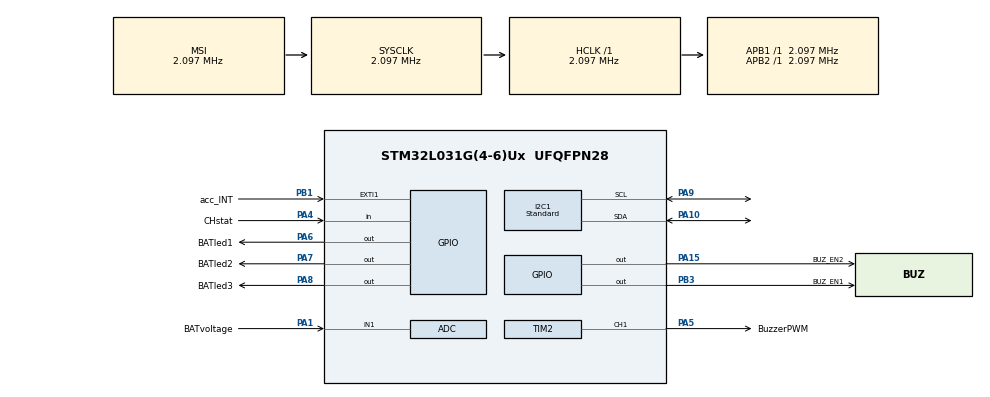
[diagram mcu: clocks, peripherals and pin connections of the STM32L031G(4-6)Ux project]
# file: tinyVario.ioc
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ADC.OversamplingMode=ENABLE
ADC.Ratio=ADC_OVERSAMPLING_RATIO_16
ADC.RightBitShift=ADC_RIGHTBITSHIFT_4
Dma.I2C1_RX.0.Direction=DMA_PERIPH_TO_MEMORY
Dma.I2C1_RX.0.Instance=DMA1_Channel3
Dma.I2C1_RX.0.MemDataAlignment=DMA_MDATAALIGN_BYTE
Dma.I2C1_RX.0.MemInc=DMA_MINC_ENABLE
Dma.I2C1_RX.0.Mode=DMA_NORMAL
Dma.I2C1_RX.0.PeriphDataAlignment=DMA_PDATAALIGN_BYTE
Dma.I2C1_RX.0.PeriphInc=DMA_PINC_DISABLE
Dma.I2C1_RX.0.Priority=DMA_PRIORITY_HIGH
Dma.Request0=I2C1_RX
I2C1.I2C_Speed_Mode=I2C_Standard
I2C1.Timing=0x00000608
Mcu.Family=STM32L0
Mcu.Name=STM32L031G(4-6)Ux
Mcu.Package=UFQFPN28
NVIC.DMA1_Channel2_3_IRQn=true\:0\:0\:false\:false\:true\:false\:true\:true
NVIC.EXTI0_1_IRQn=true\:0\:0\:false\:false\:true\:true\:true\:true
NVIC.I2C1_IRQn=true\:0\:0\:false\:false\:true\:true\:true\:true
PA0-CK_IN.GPIO_Label=ButtonIn
PA0-CK_IN.Mode=SYS_WakeUp0
PA0-CK_IN.Signal=SYS_WKUP1
PA1.GPIO_Label=BATvoltage
PA1.Mode=IN1
PA1.Signal=ADC_IN1
PA10.Mode=I2C
PA10.Signal=I2C1_SDA
PA13.Mode=Serial_Wire
PA13.Signal=SYS_SWDIO
PA14.Mode=Serial_Wire
PA14.Signal=SYS_SWCLK
PA15.GPIO_Label=BUZ_EN2
PA15.Signal=GPIO_Output
PA2.GPIO_Label=USBsens
PA2.Mode=SYS_WakeUp2
PA2.Signal=SYS_WKUP3
PA4.GPIO_Label=CHstat
PA4.Signal=GPIO_Input
PA5.GPIO_Label=BuzzerPWM
PA5.Signal=S_TIM2_CH1
PA6.GPIO_Label=BATled1
PA6.Signal=GPIO_Output
PA7.GPIO_Label=BATled2
PA7.Signal=GPIO_Output
PA8.GPIO_Label=BATled3
PA8.Signal=GPIO_Output
PA9.Mode=I2C
PA9.Signal=I2C1_SCL
PB1.GPIO_Label=acc_INT
PB1.GPIO_PuPd=GPIO_PULLUP
PB1.Signal=GPXTI1
PB3.GPIO_Label=BUZ_EN1
PB3.Signal=GPIO_Output
ProjectManager.HeapSize=0x200
ProjectManager.StackSize=0x400
ProjectManager.TargetToolchain=STM32CubeIDE
RCC.AHBFreq_Value=2097000
RCC.APB1Freq_Value=2097000
RCC.APB1TimFreq_Value=2097000
RCC.APB2Freq_Value=2097000
RCC.APB2TimFreq_Value=2097000
RCC.HSE_VALUE=8000000
RCC.HSI16_VALUE=16000000
RCC.HSI_VALUE=16000000
RCC.LSE_VALUE=32768
RCC.MSI_VALUE=2097000
RCC.SYSCLKFreq_VALUE=2097000
RCC.VCOOutputFreq_Value=48000000
SH.S_TIM2_CH1.0=TIM2_CH1,PWM Generation1 CH1
TIM2.Channel-PWM\ Generation1\ CH1=TIM_CHANNEL_1
TIM2.Period=249
TIM2.Prescaler=1-1
TIM21.Prescaler=4-1
VP_ADC_Vref_Input.Mode=IN-Vrefint
VP_TIM21_VS_ClockSourceINT.Mode=Internal
VP_TIM2_VS_ClockSourceINT.Mode=Internal
board=custom

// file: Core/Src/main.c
/* USER CODE BEGIN Header */
/**
  ******************************************************************************
  * @file           : main.c
  * @brief          : Main program body
  * @author         : Luca Obwegs
  ******************************************************************************
  * @attention
  *
  * Copyright (c) 2026 Luca Obwegs.
  * All rights reserved.
  *
  * This software is licensed under terms that can be found in the LICENSE file
  * in the root directory of this software component.
  * If no LICENSE file comes with this software, it is provided AS-IS.
  *
  ******************************************************************************
  */
/* USER CODE END Header */
#include "main.h"

/* USER CODE BEGIN Includes */
#include "led.h"
#include "battery.h"
#include "button.h"
#include "buzzer.h"
#include "vario.h"
/* USER CODE END Includes */

ADC_HandleTypeDef hadc;

I2C_HandleTypeDef hi2c1;
DMA_HandleTypeDef hdma_i2c1_rx;

TIM_HandleTypeDef htim2;
TIM_HandleTypeDef htim21;

/* USER CODE BEGIN PV */
volatile SystemError_t g_system_error = ERR_UNKNOWN;
static uint8_t initial_turn_on_released = 0;
SystemState_t current_state = STATE_OFF;
static uint32_t vbat = 0;
volatile uint8_t battery_soc_pct = 0;
static uint8_t stall_count = 0;  /* consecutive IMU stall events; reboot at threshold */
static uint32_t last_batt_check_tick = 0;
/* USER CODE END PV */

void SystemClock_Config(void);
static void MX_GPIO_Init(void);
static void MX_DMA_Init(void);
static void MX_ADC_Init(void);
static void MX_I2C1_Init(void);
static void MX_TIM2_Init(void);
static void MX_TIM21_Init(void);

int main(void)
{

  /* MCU Configuration--------------------------------------------------------*/

  /* Reset of all peripherals, Initializes the Flash interface and the Systick. */
  HAL_Init();

  /* Configure the system clock */
  SystemClock_Config();

  /* USER CODE BEGIN SysInit */
  // Keep SWD clocks running during Standby and Stop modes for debugging ---> REMOVE IN PRODUCTION CODE
  HAL_DBGMCU_EnableDBGStandbyMode();
  HAL_DBGMCU_EnableDBGStopMode();
  /* IWDG runs in standby; if it fired while sleeping re-enter standby silently (no LED animation) */
  if (RCC->CSR & RCC_CSR_IWDGRSTF) {
      RCC->CSR |= RCC_CSR_RMVF;                     /* clear all reset flags */
      __HAL_PWR_CLEAR_FLAG(PWR_FLAG_WU);
      HAL_PWR_EnableWakeUpPin(PWR_WAKEUP_PIN1);
      HAL_PWR_EnableWakeUpPin(PWR_WAKEUP_PIN3);
      IWDG->KR = 0xAAAA;                             /* pet before re-entering standby */
      HAL_PWR_EnterSTANDBYMode();
      while (1);                                     /* unreachable; satisfies compiler */
  }
  /* IWDG: ~26 s hardware watchdog — automatic reboot if firmware freezes for any reason.
     LSI ~37 kHz / prescaler-256 / reload-4095 ≈ 28 s (worst-case 47 kHz ≈ 22 s). */
  IWDG->KR = 0xCCCC;                  /* start IWDG */
  IWDG->KR = 0x5555;                  /* unlock PR/RLR registers */
  IWDG->PR = 6; IWDG->RLR = 0x0FFF;  /* /256 prescaler, max reload 4095 */
  while (IWDG->SR & 0x3);             /* wait for registers to update */
  IWDG->KR = 0xAAAA;                  /* reload — countdown starts */
  /* USER CODE END SysInit */

  /* Initialize all configured peripherals */
  MX_GPIO_Init();
  MX_DMA_Init();
  MX_ADC_Init();
  MX_I2C1_Init();
  MX_TIM2_Init();
  MX_TIM21_Init();
  Battery_Load_State_From_EEPROM();
  /* USER CODE BEGIN 2 */
  /* 1. Check whether the button was held for the full power-on gesture (2 s) */
  if (Is_Button_Held_2s()) {
    current_state = STATE_ACTIVE;
    initial_turn_on_released = 0; // lock out shutdown until the finger is lifted once

    /* --- Turn-on animation: LEDs light up one after another --- */
    HAL_GPIO_WritePin(GPIOA, BATled1_Pin, GPIO_PIN_SET);
    HAL_Delay(250);
    HAL_GPIO_WritePin(GPIOA, BATled2_Pin, GPIO_PIN_SET);
    HAL_Delay(250);
    HAL_GPIO_WritePin(GPIOA, BATled3_Pin, GPIO_PIN_SET);
    HAL_Delay(400); // brief pause so the user registers that all 3 are lit

    /* --- Battery level readout, shown for ~3 s --- */
    vbat = Read_Battery_MV();
    battery_soc_pct = Battery_Get_Fused_SOC(vbat, 25);

    if (vbat <= BAT_SHUTDOWN_MV) {
      /* Battery is already critical at power-on: skip the normal level display and
         don't start the sensors, buzzer, or IMU interrupt at all. Flash the warning
         LED and fall through to a clean shutdown; sensors_initialized stays 0, so
         STATE_OFF below skips sensor standby. */
      HAL_GPIO_WritePin(GPIOA, BATled1_Pin | BATled2_Pin | BATled3_Pin, GPIO_PIN_RESET);
      Handle_Critical_Battery();
    } else {
      /* Only turn off whichever LEDs don't belong at this SOC level - the ones that do
         belong just stay lit from the turn-on animation, so there's no off/on flicker. */
      Display_Battery_Level_Static(battery_soc_pct);
      HAL_Delay(3000);
      HAL_GPIO_WritePin(GPIOA, BATled1_Pin | BATled2_Pin | BATled3_Pin, GPIO_PIN_RESET);

      /* 2. Initialize sensors */
      if (SPL06_Init(&hi2c1) != HAL_OK) {
        HALT_WITH_ERROR(ERR_BARO_SPL06);
      }
      dbg_spl06_active = 1;

      if (LSM6DS3_Init(&hi2c1) != HAL_OK) {
        HALT_WITH_ERROR(ERR_IMU_LSM6DS3);
      }
      dbg_imu_active = 1;

      /* 3. Clear latched IMU interrupts */
      uint8_t dummy_buf[12];
      for (uint8_t i = 0; i < 3; i++) {
        LSM6DS3_ReadRaw_Poll(&hi2c1, dummy_buf);
        HAL_Delay(10);
      }

      /* 4. Barometer stabilization */
      HAL_Delay(100);
      SPL06_GetTemperature(&hi2c1); // populate calib.last_t_raw_sc first
      reference_pressure_pa = SPL06_GetPressure(&hi2c1);

      /* 5. Start PWM for the buzzer */
      HAL_TIM_PWM_Start(&htim2, TIM_CHANNEL_1);
      __HAL_TIM_SET_COMPARE(&htim2, TIM_CHANNEL_1, 0);
      g_volume = Load_Volume();
      Set_Volume(g_volume);

      /* 5b. Start TIM21 as a free-running timestamp counter for IMU dt measurement */
      HAL_TIM_Base_Start(&htim21);

      /* 6. Arm the EXTI interrupt */
      HAL_NVIC_EnableIRQ(EXTI0_1_IRQn);

      /* Seed the stall watchdog so it doesn't fire immediately on entry */
      last_imu_sample_tick = HAL_GetTick();
    }
  } else if (HAL_GPIO_ReadPin(USB_PORT, USB_PIN) == GPIO_PIN_SET) {
    current_state = STATE_CHARGING; // USB plugged in at boot, button not held
  } else {
    current_state = STATE_OFF;
  }
  /* USER CODE END 2 */

  /* Infinite loop */
  /* USER CODE BEGIN WHILE */
  while (1)
  {
    switch (current_state) {
      case STATE_OFF:
        if (HAL_GPIO_ReadPin(USB_PORT, USB_PIN) == GPIO_PIN_SET) {
          current_state = STATE_CHARGING;
          break; // skip the standby-entry code below this cycle
        }

        /* 1. Shut down audio, interrupts, and LEDs immediately at t = 2.0 s */
        HAL_NVIC_DisableIRQ(EXTI0_1_IRQn);
        HAL_NVIC_DisableIRQ(DMA1_Channel2_3_IRQn);
        HAL_TIM_PWM_Stop(&htim2, TIM_CHANNEL_1);
        Set_Volume(0); // shut down PAM8904

        if (sensors_initialized) {
          if (!Sensors_Safe_Shutdown()) {
            /* Couldn't confirm both sensors are powered down even after retries and a
               bus reset - make this visible instead of silently going to Standby with a
               sensor possibly still drawing current. Distinct pattern from the
               low-battery warning so it's identifiable on the bench. */
            for (uint8_t i = 0; i < 6; i++) {
              HAL_GPIO_TogglePin(GPIOA, BATled1_Pin | BATled3_Pin);
              HAL_Delay(150);
            }
            HAL_GPIO_WritePin(GPIOA, BATled1_Pin | BATled2_Pin | BATled3_Pin, GPIO_PIN_RESET);
          }
          HAL_I2C_DeInit(&hi2c1); // releases I2C clock, DMA channel, and PA9/PA10 AF pins
        }

        /* --- Turn-off animation --- */
        HAL_GPIO_WritePin(GPIOA, BATled1_Pin | BATled2_Pin | BATled3_Pin, GPIO_PIN_SET);
        HAL_Delay(1000);
        HAL_GPIO_WritePin(GPIOA, BATled1_Pin | BATled2_Pin | BATled3_Pin, GPIO_PIN_RESET);

        /* 2. Wait silently for physical release so Standby hardware doesn't instant-reboot */
        while (HAL_GPIO_ReadPin(BUTTON_PORT, BUTTON_PIN) == GPIO_PIN_SET) {
          HAL_Delay(10);
        }

        /* 3. Debounce: wait 100 ms for mechanical switch bouncing to fully settle */
        HAL_Delay(100);

        /* Remove the pull-up on INT1 - ~82 uA flows through it in Standby when the pin is driven low */
        {
          GPIO_InitTypeDef g = {0};
          g.Pin  = acc_INT_Pin;
          g.Mode = GPIO_MODE_INPUT;
          g.Pull = GPIO_NOPULL;
          HAL_GPIO_Init(acc_INT_GPIO_Port, &g);
        }

        /* USB hot-plugged during the shutdown animation - skip Standby */
        if (HAL_GPIO_ReadPin(USB_PORT, USB_PIN) == GPIO_PIN_SET) {
          current_state = STATE_CHARGING;
          break;
        }

        /* 4. Clear the wake-up flag and enter Standby mode */
        __HAL_PWR_CLEAR_FLAG(PWR_FLAG_WU);
        HAL_PWR_EnableWakeUpPin(PWR_WAKEUP_PIN1);
        HAL_PWR_EnableWakeUpPin(PWR_WAKEUP_PIN3);

        IWDG->KR = 0xAAAA; /* pet before standby - full ~26 s before next reset */
        dbg_mcu_state = DBG_MCU_STANDBY;
        HAL_PWR_EnterSTANDBYMode();
        /* If we reach this line, standby entry failed (pending wake-up flag or mis-configuration) */
        dbg_standby_fail++;
        dbg_mcu_state = DBG_MCU_ACTIVE;
        break;

      case STATE_ACTIVE:
        /* --- Shutdown timing (bypass STOP mode while the button is held) --- */
        if (HAL_GPIO_ReadPin(BUTTON_PORT, BUTTON_PIN) == GPIO_PIN_SET) {
          if (initial_turn_on_released) {
            /* Silence the buzzer immediately so it doesn't hang mid-tone for the whole
               2 s hold - stop as soon as the press starts. */
            Set_Buzzer_Frequency(0);
            is_beeping = 0;

            uint32_t press_start = HAL_GetTick();

            /* Trap execution here so the MCU stays awake to count ticks normally */
            uint8_t consec_low = 0;
            while (1) {
              HAL_Delay(10);
              if (HAL_GPIO_ReadPin(BUTTON_PORT, BUTTON_PIN) == GPIO_PIN_SET) {
                consec_low = 0;
                if ((HAL_GetTick() - press_start) >= 2000) {
                  current_state = STATE_OFF;
                  break;
                }
              } else {
                /* Require 50 ms of sustained release to guard against buzzer-induced bounce */
                if (++consec_low >= 5) break;
              }
            }
            if (current_state != STATE_OFF) {
              /* Short press: cycle volume 1 -> 2 -> 3 -> 1 */
              g_volume = (g_volume % 3) + 1;
              Set_Volume(g_volume);
              if (Save_Volume(g_volume) != EEPROM_SETTINGS_OK) {
                HALT_WITH_ERROR(ERR_EEPROM_STORAGE);
              }
              Display_Volume_LED(g_volume);
              last_imu_sample_tick = HAL_GetTick(); // prevent stall watchdog after the 1 s block
            }
          }
        } else {
          /* Button was completely released, arm the system for a future power-off hold */
          initial_turn_on_released = 1;
        }

        /* If the inner loop triggered a state change to OFF, jump out of this switch case instantly */
        if (current_state == STATE_OFF) {
          break;
        }

        /* --- Battery monitoring (every ~2 s - no need to sample at the 26 Hz IMU rate) ---
           Sample only when the system is quiescent enough that the regulator and sensor
           load are not biasing the battery divider measurement. */
        if ((HAL_GetTick() - last_batt_check_tick) >= BATT_CHECK_INTERVAL_MS) {
          last_batt_check_tick = HAL_GetTick();
          vbat = Battery_Read_MV_Quiescent();
          Battery_Update_Estimate(vbat);
          int32_t batt_temp_c = 25;
          if (sensors_initialized) {
            batt_temp_c = SPL06_GetTemperature(&hi2c1) / 1000;
          }
          battery_soc_pct = Battery_Get_Fused_SOC(vbat, batt_temp_c);

          if (vbat <= BAT_SHUTDOWN_MV) {
            Handle_Critical_Battery();
            break; // let STATE_OFF take over on the next loop iteration
          }
        }

        /* --- Main vario logic --- */
        if (imu_data_ready) {
          imu_data_ready = 0;
          last_imu_sample_tick = HAL_GetTick();
          stall_count = 0;
          IWDG->KR = 0xAAAA; /* pet the watchdog on every healthy IMU sample */
          Process_Vario_Math();
        } else if ((HAL_GetTick() - last_imu_sample_tick) > IMU_STALL_TIMEOUT_MS) {
          /* No IMU sample for far longer than the ~19 ms expected at 26 Hz - the I2C/DMA
             pipeline (or the sensor's INT1 line) is wedged. Reset the bus and sensor
             configuration instead of sitting silently until the user power-cycles. */
          if (++stall_count >= 5) NVIC_SystemReset(); // 5 consecutive stalls = ~2.5 s without data
          Recover_IMU_Bus();
        }

        /* Low-power sleep between samples */
        dbg_mcu_state = DBG_MCU_SLEEP;
        HAL_PWR_EnterSLEEPMode(PWR_MAINREGULATOR_ON, PWR_SLEEPENTRY_WFI);
        dbg_mcu_state = DBG_MCU_ACTIVE;
        break;

      case STATE_CHARGING:
        /* --- Charging mode (stay awake) --- */
        IWDG->KR = 0xAAAA; /* pet the watchdog */

        vbat = Battery_Read_MV_Quiescent();
        Battery_Update_Estimate(vbat);
        int32_t batt_temp_c = 25;
        if (sensors_initialized) {
          batt_temp_c = SPL06_GetTemperature(&hi2c1) / 1000;
        }
        battery_soc_pct = Battery_Get_Fused_SOC(vbat, batt_temp_c);
        Display_Charging_Status(battery_soc_pct); // keep LEDs flashing/solid based on SOC

        /* Exit if USB is unplugged */
        if (HAL_GPIO_ReadPin(USB_PORT, USB_PIN) == GPIO_PIN_RESET) {
          current_state = STATE_OFF;
        }

        /* If the user holds the button for 2 s while charging, switch to vario mode */
        if (HAL_GPIO_ReadPin(BUTTON_PORT, BUTTON_PIN) == GPIO_PIN_SET) {
          uint32_t press_start = HAL_GetTick();
          while (HAL_GPIO_ReadPin(BUTTON_PORT, BUTTON_PIN) == GPIO_PIN_SET) {
            if ((HAL_GetTick() - press_start) > 2000) {
              current_state = STATE_ACTIVE;
              break;
            }
            HAL_Delay(10);
          }
        }
        HAL_Delay(50); // fast response for the button check
        break;
    }
  /* USER CODE END WHILE */

  }
}

void SystemClock_Config(void)
{
  RCC_OscInitTypeDef RCC_OscInitStruct = {0};
  RCC_ClkInitTypeDef RCC_ClkInitStruct = {0};
  RCC_PeriphCLKInitTypeDef PeriphClkInit = {0};

  /** Configure the main internal regulator output voltage
  */
  __HAL_PWR_VOLTAGESCALING_CONFIG(PWR_REGULATOR_VOLTAGE_SCALE1);

  /** Initializes the RCC Oscillators according to the specified parameters
  * in the RCC_OscInitTypeDef structure.
  */
  RCC_OscInitStruct.OscillatorType = RCC_OSCILLATORTYPE_MSI;
  RCC_OscInitStruct.MSIState = RCC_MSI_ON;
  RCC_OscInitStruct.MSICalibrationValue = 0;
  RCC_OscInitStruct.MSIClockRange = RCC_MSIRANGE_5;
  RCC_OscInitStruct.PLL.PLLState = RCC_PLL_NONE;
  if (HAL_RCC_OscConfig(&RCC_OscInitStruct) != HAL_OK)
  {
    Error_Handler();
  }

  /** Initializes the CPU, AHB and APB buses clocks
  */
  RCC_ClkInitStruct.ClockType = RCC_CLOCKTYPE_HCLK|RCC_CLOCKTYPE_SYSCLK
                              |RCC_CLOCKTYPE_PCLK1|RCC_CLOCKTYPE_PCLK2;
  RCC_ClkInitStruct.SYSCLKSource = RCC_SYSCLKSOURCE_MSI;
  RCC_ClkInitStruct.AHBCLKDivider = RCC_SYSCLK_DIV1;
  RCC_ClkInitStruct.APB1CLKDivider = RCC_HCLK_DIV1;
  RCC_ClkInitStruct.APB2CLKDivider = RCC_HCLK_DIV1;

  if (HAL_RCC_ClockConfig(&RCC_ClkInitStruct, FLASH_LATENCY_0) != HAL_OK)
  {
    Error_Handler();
  }
  PeriphClkInit.PeriphClockSelection = RCC_PERIPHCLK_I2C1;
  PeriphClkInit.I2c1ClockSelection = RCC_I2C1CLKSOURCE_PCLK1;
  if (HAL_RCCEx_PeriphCLKConfig(&PeriphClkInit) != HAL_OK)
  {
    Error_Handler();
  }
}

static void MX_ADC_Init(void)
{

  ADC_ChannelConfTypeDef sConfig = {0};

  /** Configure the global features of the ADC (Clock, Resolution, Data Alignment and number of conversion)
  */
  hadc.Instance = ADC1;
  hadc.Init.OversamplingMode = ENABLE;
  hadc.Init.Oversample.Ratio = ADC_OVERSAMPLING_RATIO_16;
  hadc.Init.Oversample.RightBitShift = ADC_RIGHTBITSHIFT_4;
  hadc.Init.Oversample.TriggeredMode = ADC_TRIGGEREDMODE_SINGLE_TRIGGER;
  hadc.Init.ClockPrescaler = ADC_CLOCK_SYNC_PCLK_DIV1;
  hadc.Init.Resolution = ADC_RESOLUTION_12B;
  hadc.Init.SamplingTime = ADC_SAMPLETIME_39CYCLES_5;
  hadc.Init.ScanConvMode = ADC_SCAN_DIRECTION_FORWARD;
  hadc.Init.DataAlign = ADC_DATAALIGN_RIGHT;
  hadc.Init.ContinuousConvMode = DISABLE;
  hadc.Init.DiscontinuousConvMode = DISABLE;
  hadc.Init.ExternalTrigConvEdge = ADC_EXTERNALTRIGCONVEDGE_NONE;
  hadc.Init.ExternalTrigConv = ADC_SOFTWARE_START;
  hadc.Init.DMAContinuousRequests = DISABLE;
  hadc.Init.EOCSelection = ADC_EOC_SINGLE_CONV;
  hadc.Init.Overrun = ADC_OVR_DATA_PRESERVED;
  hadc.Init.LowPowerAutoWait = DISABLE;
  hadc.Init.LowPowerFrequencyMode = ENABLE;
  hadc.Init.LowPowerAutoPowerOff = DISABLE;
  if (HAL_ADC_Init(&hadc) != HAL_OK)
  {
    Error_Handler();
  }

  /** Configure the default battery sense channel. VREFINT is measured separately
      by clearing the channel-selection register before each conversion so the
      internal reference path is not left selected alongside the battery pin. */
  sConfig.Channel = ADC_CHANNEL_1;
  sConfig.Rank = ADC_RANK_CHANNEL_NUMBER;
  if (HAL_ADC_ConfigChannel(&hadc, &sConfig) != HAL_OK)
  {
    Error_Handler();
  }
  /* USER CODE BEGIN ADC_Init 2 */
  if (HAL_ADCEx_Calibration_Start(&hadc, ADC_SINGLE_ENDED) != HAL_OK)
  {
    Error_Handler();
  }
  /* USER CODE END ADC_Init 2 */

}

static void MX_I2C1_Init(void)
{

  hi2c1.Instance = I2C1;
  hi2c1.Init.Timing = 0x00000608;
  hi2c1.Init.OwnAddress1 = 0;
  hi2c1.Init.AddressingMode = I2C_ADDRESSINGMODE_7BIT;
  hi2c1.Init.DualAddressMode = I2C_DUALADDRESS_DISABLE;
  hi2c1.Init.OwnAddress2 = 0;
  hi2c1.Init.OwnAddress2Masks = I2C_OA2_NOMASK;
  hi2c1.Init.GeneralCallMode = I2C_GENERALCALL_DISABLE;
  hi2c1.Init.NoStretchMode = I2C_NOSTRETCH_DISABLE;
  if (HAL_I2C_Init(&hi2c1) != HAL_OK)
  {
    Error_Handler();
  }

  /** Configure Analogue filter
  */
  if (HAL_I2CEx_ConfigAnalogFilter(&hi2c1, I2C_ANALOGFILTER_ENABLE) != HAL_OK)
  {
    Error_Handler();
  }

  /** Configure Digital filter
  */
  if (HAL_I2CEx_ConfigDigitalFilter(&hi2c1, 0) != HAL_OK)
  {
    Error_Handler();
  }

}

static void MX_TIM2_Init(void)
{

  TIM_ClockConfigTypeDef sClockSourceConfig = {0};
  TIM_MasterConfigTypeDef sMasterConfig = {0};
  TIM_OC_InitTypeDef sConfigOC = {0};

  htim2.Instance = TIM2;
  htim2.Init.Prescaler = 1-1;
  htim2.Init.CounterMode = TIM_COUNTERMODE_UP;
  htim2.Init.Period = 249;
  htim2.Init.ClockDivision = TIM_CLOCKDIVISION_DIV1;
  htim2.Init.AutoReloadPreload = TIM_AUTORELOAD_PRELOAD_DISABLE;
  if (HAL_TIM_Base_Init(&htim2) != HAL_OK)
  {
    Error_Handler();
  }
  sClockSourceConfig.ClockSource = TIM_CLOCKSOURCE_INTERNAL;
  if (HAL_TIM_ConfigClockSource(&htim2, &sClockSourceConfig) != HAL_OK)
  {
    Error_Handler();
  }
  if (HAL_TIM_PWM_Init(&htim2) != HAL_OK)
  {
    Error_Handler();
  }
  sMasterConfig.MasterOutputTrigger = TIM_TRGO_RESET;
  sMasterConfig.MasterSlaveMode = TIM_MASTERSLAVEMODE_DISABLE;
  if (HAL_TIMEx_MasterConfigSynchronization(&htim2, &sMasterConfig) != HAL_OK)
  {
    Error_Handler();
  }
  sConfigOC.OCMode = TIM_OCMODE_PWM1;
  sConfigOC.Pulse = 0;
  sConfigOC.OCPolarity = TIM_OCPOLARITY_HIGH;
  sConfigOC.OCFastMode = TIM_OCFAST_DISABLE;
  if (HAL_TIM_PWM_ConfigChannel(&htim2, &sConfigOC, TIM_CHANNEL_1) != HAL_OK)
  {
    Error_Handler();
  }
  HAL_TIM_MspPostInit(&htim2);

}

static void MX_TIM21_Init(void)
{

  TIM_ClockConfigTypeDef sClockSourceConfig = {0};
  TIM_MasterConfigTypeDef sMasterConfig = {0};

  htim21.Instance = TIM21;
  htim21.Init.Prescaler = 4-1;
  htim21.Init.CounterMode = TIM_COUNTERMODE_UP;
  htim21.Init.Period = 65535;
  htim21.Init.ClockDivision = TIM_CLOCKDIVISION_DIV1;
  htim21.Init.AutoReloadPreload = TIM_AUTORELOAD_PRELOAD_DISABLE;
  if (HAL_TIM_Base_Init(&htim21) != HAL_OK)
  {
    Error_Handler();
  }
  sClockSourceConfig.ClockSource = TIM_CLOCKSOURCE_INTERNAL;
  if (HAL_TIM_ConfigClockSource(&htim21, &sClockSourceConfig) != HAL_OK)
  {
    Error_Handler();
  }
  sMasterConfig.MasterOutputTrigger = TIM_TRGO_RESET;
  sMasterConfig.MasterSlaveMode = TIM_MASTERSLAVEMODE_DISABLE;
  if (HAL_TIMEx_MasterConfigSynchronization(&htim21, &sMasterConfig) != HAL_OK)
  {
    Error_Handler();
  }

}

static void MX_DMA_Init(void)
{

  /* DMA controller clock enable */
  __HAL_RCC_DMA1_CLK_ENABLE();

  /* DMA interrupt init */
  /* DMA1_Channel2_3_IRQn interrupt configuration */
  HAL_NVIC_SetPriority(DMA1_Channel2_3_IRQn, 0, 0);
  HAL_NVIC_EnableIRQ(DMA1_Channel2_3_IRQn);

}

static void MX_GPIO_Init(void)
{
  GPIO_InitTypeDef GPIO_InitStruct = {0};
  /* USER CODE BEGIN MX_GPIO_Init_1 */
  __HAL_RCC_SYSCFG_CLK_ENABLE();
  /* USER CODE END MX_GPIO_Init_1 */

  /* GPIO Ports Clock Enable */
  __HAL_RCC_GPIOA_CLK_ENABLE();
  __HAL_RCC_GPIOB_CLK_ENABLE();

  /*Configure GPIO pin Output Level */
  HAL_GPIO_WritePin(GPIOA, BATled1_Pin|BATled2_Pin|BATled3_Pin|BUZ_EN2_Pin, GPIO_PIN_RESET);

  /*Configure GPIO pin Output Level */
  HAL_GPIO_WritePin(BUZ_EN1_GPIO_Port, BUZ_EN1_Pin, GPIO_PIN_RESET);

  /*Configure GPIO pin : CHstat_Pin */
  GPIO_InitStruct.Pin = CHstat_Pin;
  GPIO_InitStruct.Mode = GPIO_MODE_INPUT;
  GPIO_InitStruct.Pull = GPIO_NOPULL;
  HAL_GPIO_Init(CHstat_GPIO_Port, &GPIO_InitStruct);

  /* Battery sense pin must be analog input for ADC1_IN1 */
  GPIO_InitStruct.Pin = BATvoltage_Pin;
  GPIO_InitStruct.Mode = GPIO_MODE_ANALOG;
  GPIO_InitStruct.Pull = GPIO_NOPULL;
  HAL_GPIO_Init(BATvoltage_GPIO_Port, &GPIO_InitStruct);

  /*Configure GPIO pins : BATled1_Pin BATled2_Pin BATled3_Pin BUZ_EN2_Pin */
  GPIO_InitStruct.Pin = BATled1_Pin|BATled2_Pin|BATled3_Pin|BUZ_EN2_Pin;
  GPIO_InitStruct.Mode = GPIO_MODE_OUTPUT_PP;
  GPIO_InitStruct.Pull = GPIO_NOPULL;
  GPIO_InitStruct.Speed = GPIO_SPEED_FREQ_LOW;
  HAL_GPIO_Init(GPIOA, &GPIO_InitStruct);

  /*Configure GPIO pin : acc_INT_Pin */
  GPIO_InitStruct.Pin = acc_INT_Pin;
  GPIO_InitStruct.Mode = GPIO_MODE_IT_RISING;
  GPIO_InitStruct.Pull = GPIO_PULLUP;
  HAL_GPIO_Init(acc_INT_GPIO_Port, &GPIO_InitStruct);

  /*Configure GPIO pin : BUZ_EN1_Pin */
  GPIO_InitStruct.Pin = BUZ_EN1_Pin;
  GPIO_InitStruct.Mode = GPIO_MODE_OUTPUT_PP;
  GPIO_InitStruct.Pull = GPIO_NOPULL;
  GPIO_InitStruct.Speed = GPIO_SPEED_FREQ_LOW;
  HAL_GPIO_Init(BUZ_EN1_GPIO_Port, &GPIO_InitStruct);

  /* EXTI interrupt init*/
  HAL_NVIC_SetPriority(EXTI0_1_IRQn, 0, 0);
  HAL_NVIC_EnableIRQ(EXTI0_1_IRQn);

  /* USER CODE BEGIN MX_GPIO_Init_2 */
  /* ButtonIn (PA0) and USBsens (PA2) are wakeup pins — CubeMX skips their GPIO init */
  GPIO_InitStruct.Pin = ButtonIn_Pin | USBsens_Pin;
  GPIO_InitStruct.Mode = GPIO_MODE_INPUT;
  GPIO_InitStruct.Pull = GPIO_PULLDOWN;
  HAL_GPIO_Init(GPIOA, &GPIO_InitStruct);
  /* USER CODE END MX_GPIO_Init_2 */
}

void Error_Handler(void)
{
  /* USER CODE BEGIN Error_Handler_Debug */
  __disable_irq();
  /* Blink LED1 for ~5 s then reboot — prevents permanent freeze on peripheral or sensor fault */
  for (uint32_t b = 0; b < 26; b++) {
    HAL_GPIO_TogglePin(GPIOA, BATled1_Pin);
    for (volatile uint32_t i = 0; i < 100000; i++);
  }
  NVIC_SystemReset();
  /* USER CODE END Error_Handler_Debug */
}
